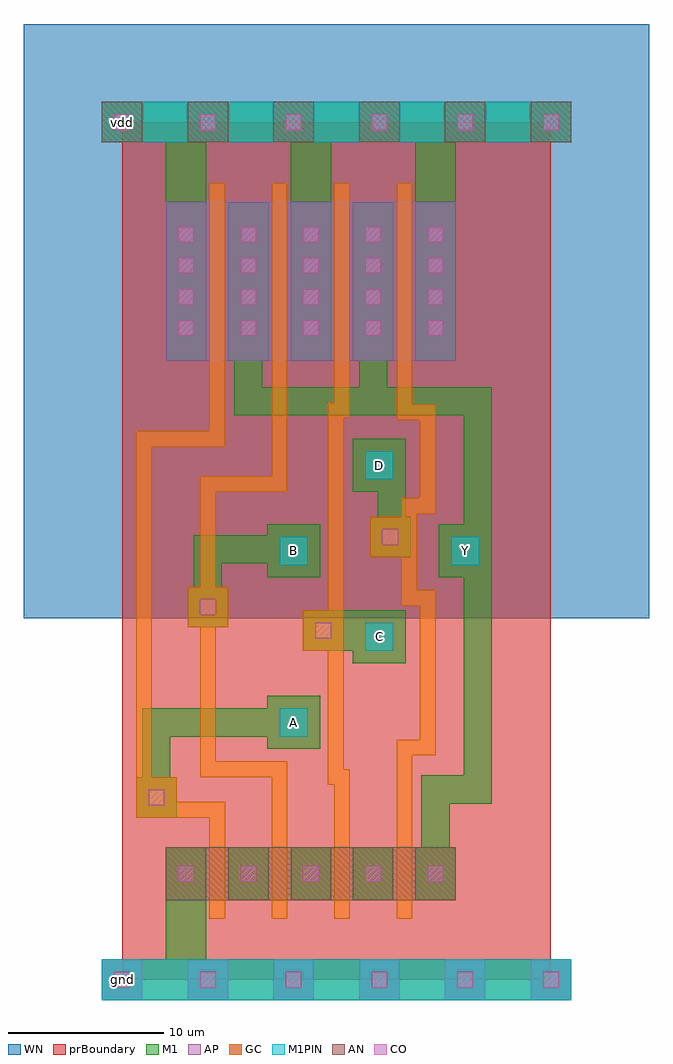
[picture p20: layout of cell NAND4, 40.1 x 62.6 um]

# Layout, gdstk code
import gdstk
lib = gdstk.Library(unit=1e-6, precision=1e-09)
def R(c, l, rs):  # rectangles x0, y0, x1, y1
    for r in rs: c.add(gdstk.rectangle(r[:2], r[2:], *l))
def A(c, l, x, y, w, h, nx, ny, dx, dy):  # array of equal rectangles
    R(c, l, [(x+i*dx, y+j*dy, x+i*dx+w, y+j*dy+h) for i in range(nx) for j in range(ny)])
def P(c, l, *ps):  # polygons
    for p in ps: c.add(gdstk.Polygon(p, *l))
AP = (3, 1)
AN = (3, 2)
GC = (8, 1)
CO = (11, 0)
M1 = (13, 0)
M1PIN = (48, 1)
WN = (140, 0)
prBoundary = (235, 0)

nand4 = lib.new_cell('NAND4')
A(nand4, AP, -1.3, -1.3, 2.6, 2.6, 6, 1, 5.5, 0)
R(nand4, AP, [(2.8,39.7,21.4,49.9), (2.8,39.7,21.4,49.9)])
A(nand4, AN, -1.3, 53.7, 2.6, 2.6, 6, 1, 5.5, 0)
R(nand4, AN, [(2.8,5.1,21.4,8.5)])
P(nand4, GC, [(5.6,3.9),(5.6,10.4),(0.9,10.4),(0.9,35.2),(5.6,35.2),(5.6,51.1),(6.6,51.1),(6.6,34.2),(1.9,34.2),(1.9,13),(3.5,13),(3.5,11.4),(6.6,11.4),(6.6,3.9)],
  [(9.6,3.9),(9.6,13),(5,13),(5,22.6),(4.2,22.6),(4.2,25.2),(5,25.2),(5,32.3),(9.6,32.3),(9.6,51.1),(10.6,51.1),(10.6,31.3),(6,31.3),(6,25.2),(6.8,25.2),(6.8,22.6),(6,22.6),(6,14),(10.6,14),(10.6,3.9)],
  [(13.6,3.9),(13.6,12.5),(13.2,12.5),(13.2,21.1),(11.6,21.1),(11.6,23.7),(13.2,23.7),(13.2,37),(13.6,37),(13.6,51.1),(14.6,51.1),(14.6,36),(14.2,36),(14.2,13.5),(14.6,13.5),(14.6,3.9)],
  [(17.6,3.9),(17.6,15.4),(19.1,15.4),(19.1,24),(17.9,24),(17.9,27.1),(15.9,27.1),(15.9,29.7),(17.9,29.7),(17.9,30.9),(19.1,30.9),(19.1,35.9),(17.6,35.9),(17.6,51.1),(18.6,51.1),(18.6,36.9),(20.1,36.9),(20.1,29.9),(18.9,29.9),(18.9,25),(20.1,25),(20.1,14.4),(18.6,14.4),(18.6,3.9)])
A(nand4, CO, -0.5, -0.5, 1, 1, 6, 2, 5.5, 55)
A(nand4, CO, 3.6, 41.3, 1, 1, 1, 4, 0, 2)
A(nand4, CO, 19.6, 41.3, 1, 1, 1, 4, 0, 2)
R(nand4, CO, [(3.6,6.3,4.6,7.3), (7.6,6.3,8.6,7.3), (7.6,6.3,8.6,7.3), (11.6,6.3,12.6,7.3), (11.6,6.3,12.6,7.3), (15.6,6.3,16.6,7.3), (15.6,6.3,16.6,7.3), (19.6,6.3,20.6,7.3), (1.7,11.2,2.7,12.2), (12.4,21.9,13.4,22.9), (5,23.4,6,24.4), (16.7,27.9,17.7,28.9), (7.6,41.3,8.6,42.3), (7.6,41.3,8.6,42.3), (11.6,41.3,12.6,42.3), (11.6,41.3,12.6,42.3), (15.6,41.3,16.6,42.3), (15.6,41.3,16.6,42.3), (7.6,43.3,8.6,44.3), (7.6,43.3,8.6,44.3), (11.6,43.3,12.6,44.3), (11.6,43.3,12.6,44.3), (15.6,43.3,16.6,44.3), (15.6,43.3,16.6,44.3), (7.6,45.3,8.6,46.3), (7.6,45.3,8.6,46.3), (11.6,45.3,12.6,46.3), (11.6,45.3,12.6,46.3), (15.6,45.3,16.6,46.3), (15.6,45.3,16.6,46.3), (7.6,47.3,8.6,48.3), (7.6,47.3,8.6,48.3), (11.6,47.3,12.6,48.3), (11.6,47.3,12.6,48.3), (15.6,47.3,16.6,48.3), (15.6,47.3,16.6,48.3)])
A(nand4, M1, 6.8, 5.1, 2.6, 3.4, 3, 1, 4, 0)
P(nand4, M1, [(-1.3,-1.3),(-1.3,1.3),(2.8,1.3),(2.8,8.5),(5.4,8.5),(5.4,1.3),(28.8,1.3),(28.8,-1.3)],
  [(0.9,10.4),(0.9,13),(1.3,13),(1.3,17.4),(9.3,17.4),(9.3,18.2),(12.7,18.2),(12.7,14.8),(9.3,14.8),(9.3,15.6),(3.1,15.6),(3.1,13),(3.5,13),(3.5,10.4)],
  [(14.8,20.3),(14.8,21.1),(11.6,21.1),(11.6,23.7),(18.2,23.7),(18.2,20.3)],
  [(4.2,22.6),(4.2,25.2),(4.6,25.2),(4.6,28.5),(9.3,28.5),(9.3,29.2),(12.7,29.2),(12.7,25.8),(9.3,25.8),(9.3,26.7),(6.4,26.7),(6.4,25.2),(6.8,25.2),(6.8,22.6)],
  [(15.9,27.1),(15.9,29.7),(16.4,29.7),(16.4,31.3),(14.8,31.3),(14.8,34.7),(18.2,34.7),(18.2,29.7),(18.5,29.7),(18.5,27.1)],
  [(18.8,5.1),(18.8,8.5),(19.2,8.5),(19.2,13.1),(21.9,13.1),(21.9,25.8),(20.3,25.8),(20.3,29.2),(21.9,29.2),(21.9,36.2),(7.2,36.2),(7.2,39.7),(6.8,39.7),(6.8,49.9),(9.4,49.9),(9.4,39.7),(9,39.7),(9,38),(15.2,38),(15.2,39.7),(14.8,39.7),(14.8,49.9),(17.4,49.9),(17.4,39.7),(17,39.7),(17,38),(23.7,38),(23.7,11.3),(21,11.3),(21,8.5),(21.4,8.5),(21.4,5.1)],
  [(2.8,39.7),(2.8,53.7),(-1.3,53.7),(-1.3,56.3),(28.8,56.3),(28.8,53.7),(21.4,53.7),(21.4,39.7),(18.8,39.7),(18.8,53.7),(13.4,53.7),(13.4,39.7),(10.8,39.7),(10.8,53.7),(5.4,53.7),(5.4,39.7)])
R(nand4, M1PIN, [(-1.3,-1.3,28.8,1.3), (10.1,15.6,11.9,17.4), (15.6,21.1,17.4,22.9), (10.1,26.6,11.9,28.4), (21.1,26.6,22.9,28.4), (15.6,32.1,17.4,33.9), (-1.3,53.7,28.8,56.3)])
R(nand4, WN, [(-6.3,23.2,33.8,61.3)])
R(nand4, prBoundary, [(0,0,27.5,55)])
nand4.add(gdstk.Label('Y', (22,27.5), layer=48, texttype=0))
nand4.add(gdstk.Label('A', (11,16.5), layer=48, texttype=0))
nand4.add(gdstk.Label('B', (11,27.5), layer=48, texttype=0))
nand4.add(gdstk.Label('C', (16.5,22), layer=48, texttype=0))
nand4.add(gdstk.Label('D', (16.5,33), layer=48, texttype=0))
nand4.add(gdstk.Label('vdd', (0,55), layer=48, texttype=0))
nand4.add(gdstk.Label('gnd', (0,0), layer=48, texttype=0))

lib.write_gds('NAND4.gds')
